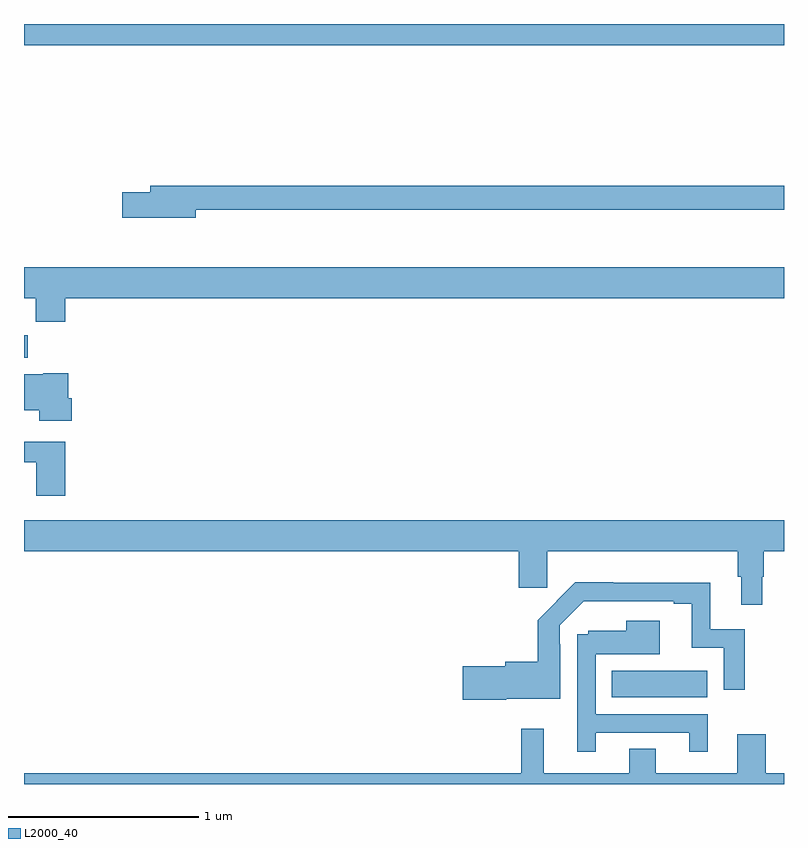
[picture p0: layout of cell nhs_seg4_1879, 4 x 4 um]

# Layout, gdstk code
import gdstk
lib = gdstk.Library(unit=1e-6, precision=1e-09)
def R(c, l, rs):  # rectangles x0, y0, x1, y1
    for r in rs: c.add(gdstk.rectangle(r[:2], r[2:], *l))
def P(c, l, *ps):  # polygons
    for p in ps: c.add(gdstk.Polygon(p, *l))
L2000_40 = (2000, 40)

nhs_seg4_1879 = lib.new_cell('nhs_seg4_1879')
R(nhs_seg4_1879, L2000_40, [(210.094,825.356,210.595,825.496), (207,827.144,207.02,827.263), (207,828.788,211,828.9)])
P(nhs_seg4_1879, L2000_40, [(207.904,827.922),(211,827.922),(211,828.05),(207.665,828.05),(207.665,828.014),(207.516,828.014),(207.516,827.879),(207.904,827.879)],
  [(207.218,827.456),(211,827.456),(211,827.62),(207,827.62),(207,827.456),(207.061,827.456),(207.061,827.332),(207.218,827.332)],
  [(207.251,826.929),(207.233,826.929),(207.233,827.062),(207.102,827.062),(207.102,827.056),(207,827.056),(207,826.868),(207.08,826.868),(207.08,826.811),(207.251,826.811)],
  [(207.218,826.702),(207,826.702),(207,826.593),(207.065,826.593),(207.065,826.416),(207.218,826.416)],
  [(210.886,825.992),(210.893,825.992),(210.893,826.124),(211,826.124),(211,826.288),(207,826.288),(207,826.124),(209.603,826.124),(209.603,825.933),(209.753,825.933),(209.753,826.124),(210.757,826.124),(210.757,825.992),(210.776,825.992),(210.776,825.843),(210.886,825.843)],
  [(209.538,825.35),(209.823,825.35),(209.823,825.635),(209.82,825.635),(209.82,825.735),(209.946,825.861),(210.419,825.861),(210.419,825.849),(210.515,825.849),(210.515,825.618),(210.684,825.618),(210.684,825.396),(210.793,825.396),(210.793,825.714),(210.613,825.714),(210.613,825.958),(210.101,825.958),(210.101,825.961),(209.902,825.961),(209.705,825.763),(209.705,825.544),(209.534,825.544),(209.534,825.521),(209.31,825.521),(209.31,825.343),(209.538,825.343)],
  [(210.01,825.171),(210.5,825.171),(210.5,825.069),(210.598,825.069),(210.598,825.267),(210.009,825.267),(210.009,825.584),(210.346,825.584),(210.346,825.76),(210.17,825.76),(210.17,825.706),(209.97,825.706),(209.97,825.687),(209.913,825.687),(209.913,825.069),(210.01,825.069)],
  [(211,824.956),(210.903,824.956),(210.903,825.163),(210.755,825.163),(210.755,824.956),(210.325,824.956),(210.325,825.086),(210.185,825.086),(210.185,824.956),(209.735,824.956),(209.735,825.19),(209.617,825.19),(209.617,824.956),(207,824.956),(207,824.9),(211,824.9)])

lib.write_gds('nhs_seg4_1879.gds')
